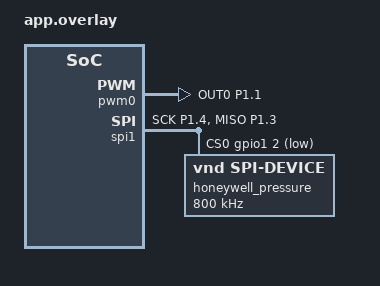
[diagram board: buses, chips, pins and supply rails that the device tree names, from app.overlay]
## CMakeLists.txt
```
cmake_minimum_required(VERSION 3.20.0)
find_package(Zephyr REQUIRED HINTS $ENV{ZEPHYR_BASE})

project(D6F-Read)

target_sources(app PRIVATE
    src/main.c
    src/adcin.c
    src/pwmout.c
    src/spiin.c
)
```

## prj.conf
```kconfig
CONFIG_ADC=y
CONFIG_LOG=y
CONFIG_LOG_DEFAULT_LEVEL=3
CONFIG_LOG_BACKEND_UART=y
CONFIG_CBPRINTF_FP_SUPPORT=y
CONFIG_PWM=y
CONFIG_SPI=y
CONFIG_GPIO=y
CONFIG_SHELL=y
CONFIG_LOG_RUNTIME_FILTERING=y
CONFIG_LOG_CMDS=y
```

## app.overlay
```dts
#include <zephyr/dt-bindings/pinctrl/nrf-pinctrl.h>

&pinctrl {
    pwm0_motor_default: pwm0_motor_default {
        group1 {
            psels = <NRF_PSEL(PWM_OUT0, 1, 1)>;
        };
    };
    pwm0_motor_sleep: pwm0_motor_sleep {
        group1 {
            psels = <NRF_PSEL(PWM_OUT0, 1, 1)>;
        };
    };
    spi1_honeywell_default: spi1_honeywell_default {
        group1 {
            psels = <NRF_PSEL(SPIM_SCK, 1, 4)>,
                    <NRF_PSEL(SPIM_MISO, 1, 3)>;
        };
    };

    spi1_honeywell_sleep: spi1_honeywell_sleep {
        group1 {
            psels = <NRF_PSEL(SPIM_SCK, 1, 4)>,
                    <NRF_PSEL(SPIM_MISO, 1, 3)>;

            low-power-enable;
        };
    };
};

&pwm0 {
    pinctrl-0 = <&pwm0_motor_default>;
    pinctrl-1 = <&pwm0_motor_sleep>;
    pinctrl-names = "default", "sleep";
};

&spi1 {
        compatible = "nordic,nrf-spi";
        status = "okay";
        cs-gpios = <&gpio1 2 GPIO_ACTIVE_LOW>;
        pinctrl-0 = <&spi1_honeywell_default>;
        pinctrl-1 = <&spi1_honeywell_sleep>;
        pinctrl-names = "default", "sleep";
        honeywell_pressure: honeywell_pressure@0 {
                compatible = "vnd,spi-device";
                reg = <0>;
                spi-max-frequency = <800000>;

                spi-cs-setup-delay-ns = <2500>;
                spi-cs-hold-delay-ns = <100>;
        };
};
```

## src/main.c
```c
#include <zephyr/kernel.h>
#include "adc.h"
#include "pwm.h"
#include "spi.h"
#include <zephyr/logging/log.h>
LOG_MODULE_REGISTER(main, LOG_LEVEL_DBG);


int main(void)
{
        printf("Hello World!\n");

        adc_init();
        spi_init();

        float psi = 0;
        float duty = 0;
        int ml_min = 0;
        int monitoring_duration = 120000;
        int64_t start_time = k_uptime_get();

        while(psi <= 0.3f) {
                duty = MIN(duty + 0.05f, 15.0f);
                pwm_set_percent(duty);

                spi_read_pressure(&psi);

                adc_read_flowrate(&ml_min);

                k_msleep(100);

        }

        duty = 0;
        pwm_set_percent(duty);
        LOG_INF("Vaccum Genereted!");
        
        while(k_uptime_get() - start_time <= monitoring_duration){
                spi_read_pressure(&psi);
                adc_read_flowrate(&ml_min);

                LOG_INF("Pressure (psi): %.3f", (double)psi);
                LOG_INF("Flowrate (ml/min): %d", ml_min);
                int64_t time_remaining = (monitoring_duration - (k_uptime_get() - start_time)) / 1000;
                LOG_INF("Time remaining (s): %d", time_remaining);

                k_msleep(10000);
        }

        return 0;
}
```

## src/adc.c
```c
#include <zephyr/drivers/adc.h>
#include <zephyr/dt-bindings/adc/nrf-saadc.h>

const struct device *adc = DEVICE_DT_GET(DT_NODELABEL(adc));

struct adc_channel_cfg channel_cfg = {
        .input_positive = NRF_SAADC_AIN1,
        .gain = ADC_GAIN_1_5,
        .reference = ADC_REF_INTERNAL,
        .acquisition_time = ADC_ACQ_TIME_DEFAULT,
        .channel_id = 0,
        .differential = 0,
};

int16_t sample;
struct adc_sequence sequence = {
        .channels = BIT(0),
        .buffer = &sample,
        .buffer_size = sizeof(sample),
        .resolution = 12,
        .oversampling = 0,
        .calibrate = false,
};
```

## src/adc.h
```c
#ifndef ADC_H_
#define ADC_H_

int adc_init(void);
int adc_read_flowrate(int *ml_min);

#endif
```

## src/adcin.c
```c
#include <zephyr/kernel.h>
#include <zephyr/drivers/adc.h>
#include <zephyr/dt-bindings/adc/nrf-saadc.h>
#include <zephyr/logging/log.h>

LOG_MODULE_REGISTER(adc, LOG_LEVEL_DBG);

static const struct device *adc = DEVICE_DT_GET(DT_NODELABEL(adc));

static const struct adc_channel_cfg channel_cfg = {
        .input_positive = NRF_SAADC_AIN7,
        .gain = ADC_GAIN_1_5,
        .reference = ADC_REF_INTERNAL,
        .acquisition_time = ADC_ACQ_TIME_DEFAULT,
        .channel_id = 0,
        .differential = 0,
};

static int16_t sample;

static struct adc_sequence sequence = {
        .channels = BIT(0),
        .buffer = &sample,
        .buffer_size = sizeof(sample),
        .resolution = 14,
        .oversampling = 6,
};


int adc_init(void)
{
        int err = adc_channel_setup(adc, &channel_cfg);

        if (err < 0) {
                LOG_ERR("ADC channel setup failed: %d", err);
                return err;
        }

        sequence.calibrate = true;

        err = adc_read(adc, &sequence);

        sequence.calibrate = false;

        if (err < 0) {
                LOG_ERR("ADC calibration failed: %d", err);
                return err;
        }

        return 0;
}


int adc_read_flowrate(int *ml_min)
{
        int err = adc_read(adc, &sequence);

        if (err < 0) {
                LOG_ERR("ADC read failed: %d", err);
                return err;
        }

        int32_t voltage_mv = sample;

        err = adc_raw_to_millivolts(
                600,
                channel_cfg.gain,
                sequence.resolution,
                &voltage_mv
        );

        if (err < 0) {
                LOG_ERR("ADC conversion failed: %d", err);
                return err;
        }

        *ml_min = (voltage_mv - 500) / 20;

        if (*ml_min > 100) {
                LOG_ERR("Flow is too HIGH! - %d ml/min", *ml_min);
        } else {
                LOG_DBG("Voltage: %d mV", voltage_mv);
                LOG_DBG("Flow: %d ml/min", *ml_min);
        }

        return 0;
}
```

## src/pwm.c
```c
#include <zephyr/drivers/pwm.h>

static const struct pwm_dt_spec pwm = PWM_DT_SPEC_GET(DT_ALIAS(pwm_led0));

#define PWM_PERIOD PWM_USEC(100)

while (1) {
    for int 
}
```

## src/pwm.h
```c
#ifndef PWM_H_
#define PWM_H_

int pwm_set_percent(float duty);

#endif
```

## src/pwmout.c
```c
#include <zephyr/kernel.h>
#include <zephyr/drivers/pwm.h>
#include <zephyr/drivers/gpio.h>

static const struct device *pwm0_motor = DEVICE_DT_GET(DT_NODELABEL(pwm0));
static const struct gpio_dt_spec led1 = GPIO_DT_SPEC_GET(DT_ALIAS(led1), gpios);

int pwm_set_percent(int duty)
{
    uint32_t period = PWM_KHZ(50);
    uint32_t pulse = period / 100 * duty;

    return pwm_set(
        pwm0_motor,
        0,
        period,
        pulse,
        PWM_POLARITY_NORMAL
    );
}


int pwm_init(void)
{
    gpio_pin_configure_dt(&led1, GPIO_OUTPUT_ACTIVE);
    gpio_pin_set(led1.port, led1.pin, 1);
    int duty = 0;
    pwm_set_percent(duty);

    while (1){
        for (int duty = 5; duty <=20; duty++)
        {
            pwm_set_percent(duty);
            k_msleep(100);
        }
        for (int duty = 20; duty >=5; duty--)
        {
            pwm_set_percent(duty);
            k_msleep(100);
        }
    }
}
```

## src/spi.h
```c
#ifndef SPI_H_
#define SPI_H_

int spi_init(void);
int spi_read_pressure(float *psi);

#endif
```

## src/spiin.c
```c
#include <zephyr/kernel.h>
#include <zephyr/drivers/spi.h>
#include <zephyr/devicetree.h>
#include <zephyr/logging/log.h>
LOG_MODULE_REGISTER(spi, LOG_LEVEL_DBG);

#define SPIOP SPI_WORD_SET(8) | SPI_TRANSFER_MSB
struct spi_dt_spec honeywell_pressure = SPI_DT_SPEC_GET(DT_NODELABEL(honeywell_pressure), SPIOP);



int spi_init(void)
{
    if (spi_is_ready_dt(&honeywell_pressure)) {
        LOG_INF("SPI interface: READY");

    } else {
        LOG_ERR("SPI interface: NOT READY");
        return -1;
        
    }   

    return 0;
}

int spi_read_pressure(float *psi)
{
    uint8_t rx_data[2] = {0};

    struct spi_buf rx_buf = {
        .buf = rx_data,
        .len = sizeof(rx_data)
    };

    struct spi_buf_set rx = {
        .buffers = &rx_buf,
        .count = 1
    };

    int err = spi_read_dt(&honeywell_pressure, &rx);

    if (err < 0) {
        LOG_ERR("SPI read failed: %d", err);
        return err;
    }

    uint8_t status = rx_data[0] >> 6;

    LOG_DBG("SPI read data: %02X %02X", rx_data[0], rx_data[1]);
    LOG_DBG("SPI read status: %d", status);

    if (status != 0) {
        LOG_ERR("Honeywell status error: %d", status);
        return -1;
    }

    int output = (rx_data[0] & 0x3F) * 256 + rx_data[1];
    *psi = ((output - 1638.0f) * 2.0f) / 13108.0f - 1.0f;

    LOG_DBG("Pressure: %.3f psi", (double)*psi);

    return 0;
}
```
